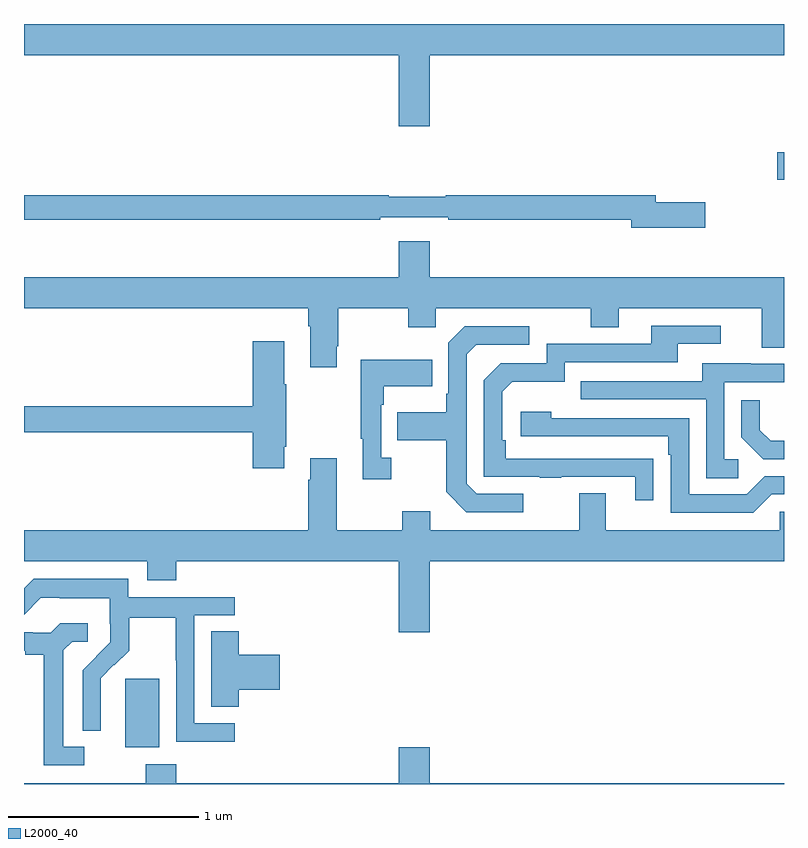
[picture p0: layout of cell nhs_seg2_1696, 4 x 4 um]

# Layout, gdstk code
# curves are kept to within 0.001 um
import gdstk
lib = gdstk.Library(unit=1e-6, precision=1e-09)
def R(c, l, rs):  # rectangles x0, y0, x1, y1
    for r in rs: c.add(gdstk.rectangle(r[:2], r[2:], *l))
def P(c, l, *ps):  # polygons
    for p in ps: c.add(gdstk.Polygon(p, *l))
L2000_40 = (2000, 40)

nhs_seg2_1696 = lib.new_cell('nhs_seg2_1696')
R(nhs_seg2_1696, L2000_40, [(199.532,643.994,199.711,644.355), (202.965,646.979,203,647.126)])
P(nhs_seg2_1696, L2000_40, [(203,647.8),(199,647.8),(199,647.636),(200.972,647.636),(200.972,647.262),(201.136,647.262),(201.136,647.636),(203,647.636)],
  [(202.585,646.862),(202.324,646.862),(202.324,646.898),(201.22,646.898),(201.22,646.891),(200.92,646.891),(200.92,646.898),(199,646.898),(199,646.77),(200.876,646.77),(200.876,646.782),(201.232,646.782),(201.232,646.77),(202.196,646.77),(202.196,646.727),(202.585,646.727)],
  [(201.136,646.657),(200.972,646.657),(200.972,646.468),(199,646.468),(199,646.304),(200.495,646.304),(200.495,646.208),(200.507,646.208),(200.507,645.993),(200.647,645.993),(200.647,646.105),(200.655,646.105),(200.655,646.304),(201.022,646.304),(201.022,646.205),(201.168,646.205),(201.168,646.304),(201.982,646.304),(201.982,646.205),(202.129,646.205),(202.129,646.304),(202.883,646.304),(202.883,646.096),(203,646.096),(203,646.468),(201.136,646.468)],
  [(202.313,645.512),(201.536,645.513),(201.536,645.61),(201.516,645.61),(201.516,645.864),(201.569,645.917),(201.846,645.917),(201.846,646.02),(202.441,646.02),(202.441,646.116),(202.666,646.116),(202.666,646.212),(202.301,646.212),(202.301,646.116),(201.75,646.116),(201.75,646.014),(201.51,646.014),(201.42,645.924),(201.42,645.417),(201.715,645.417),(201.715,645.412),(201.827,645.412),(201.827,645.417),(202.217,645.417),(202.217,645.294),(202.313,645.294)],
  [(201.628,645.327),(201.384,645.327),(201.33,645.381),(201.33,646.062),(201.381,646.113),(201.658,646.113),(201.658,646.209),(201.321,646.209),(201.234,646.122),(201.234,645.853),(201.222,645.853),(201.222,645.757),(200.965,645.757),(200.965,645.61),(201.222,645.61),(201.222,645.337),(201.327,645.231),(201.628,645.231)],
  [(200.371,645.574),(200.379,645.574),(200.379,645.905),(200.371,645.905),(200.371,646.129),(200.204,646.129),(200.204,645.788),(199,645.788),(199,645.652),(200.204,645.652),(200.204,645.462),(200.371,645.462)],
  [(200.932,645.518),(200.88,645.518),(200.88,645.797),(200.893,645.797),(200.893,645.893),(201.149,645.893),(201.149,646.033),(200.772,646.033),(200.772,645.617),(200.783,645.617),(200.783,645.405),(200.932,645.405)],
  [(202.759,645.51),(202.686,645.51),(202.686,645.915),(203,645.915),(203,646.011),(202.825,646.011),(202.825,646.015),(202.571,646.015),(202.571,645.921),(201.931,645.921),(201.931,645.825),(202.59,645.825),(202.59,645.409),(202.759,645.409)],
  [(203,645.606),(202.93,645.606),(202.873,645.663),(202.873,645.82),(202.776,645.82),(202.776,645.626),(202.892,645.51),(203,645.51)],
  [(202.935,645.324),(203,645.324),(203,645.42),(202.899,645.42),(202.803,645.324),(202.5,645.324),(202.5,645.726),(201.776,645.726),(201.776,645.76),(201.615,645.76),(201.615,645.63),(202.391,645.63),(202.391,645.533),(202.404,645.533),(202.404,645.228),(202.839,645.228)],
  [(201.136,644.972),(203,644.972),(203,645.234),(202.977,645.234),(202.977,645.136),(202.063,645.136),(202.063,645.331),(201.923,645.331),(201.923,645.136),(201.139,645.136),(201.139,645.235),(200.992,645.235),(200.992,645.136),(200.647,645.136),(200.647,645.514),(200.507,645.514),(200.507,645.401),(200.495,645.401),(200.495,645.136),(199,645.136),(199,644.972),(199.649,644.972),(199.649,644.873),(199.802,644.873),(199.802,644.972),(200.972,644.972),(200.972,644.598),(201.136,644.598)],
  [(200.11,644.121),(199.896,644.121),(199.896,644.688),(200.11,644.688),(200.11,644.784),(199.548,644.784),(199.548,644.881),(199.051,644.881),(199,644.83),(199,644.692),(199.089,644.781),(199.189,644.781),(199.189,644.777),(199.452,644.777),(199.452,644.643),(199.454,644.643),(199.454,644.546),(199.308,644.398),(199.308,644.08),(199.404,644.08),(199.403,644.357),(199.473,644.427),(199.476,644.424),(199.553,644.501),(199.553,644.676),(199.798,644.676),(199.798,644.452),(199.8,644.452),(199.8,644.023),(200.11,644.023)],
  [(199.318,643.995),(199.207,643.995),(199.207,644.503),(199.254,644.55),(199.336,644.55),(199.336,644.647),(199.192,644.647),(199.14,644.595),(199.046,644.595),(199.046,644.598),(199,644.598),(199,644.502),(199.007,644.502),(199.007,644.48),(199.103,644.48),(199.103,643.899),(199.318,643.899)],
  [(200.129,644.297),(200.347,644.297),(200.347,644.48),(200.129,644.48),(200.129,644.603),(199.985,644.603),(199.985,644.206),(200.129,644.206)],
  [(203,643.804),(201.136,643.804),(201.136,643.993),(200.972,643.993),(200.972,643.804),(199.802,643.804),(199.802,643.903),(199.642,643.903),(199.642,643.804),(199,643.804),(199,643.8),(203,643.8)])

lib.write_gds('nhs_seg2_1696.gds')
